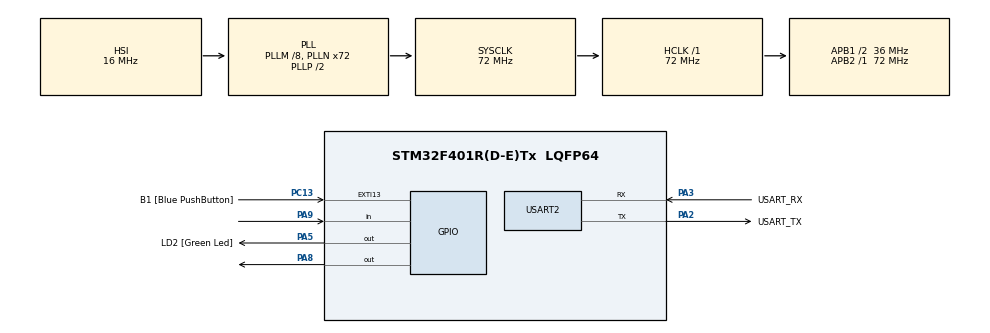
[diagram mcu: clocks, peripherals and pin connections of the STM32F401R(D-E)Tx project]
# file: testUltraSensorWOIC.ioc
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Mcu.Family=STM32F4
Mcu.Name=STM32F401R(D-E)Tx
Mcu.Package=LQFP64
NVIC.EXTI15_10_IRQn=true\:0\:0\:false\:false\:true\:true\:true
NVIC.PriorityGroup=NVIC_PRIORITYGROUP_0
PA13.GPIO_Label=TMS
PA13.Mode=Serial_Wire
PA13.Signal=SYS_JTMS-SWDIO
PA14.GPIO_Label=TCK
PA14.Mode=Serial_Wire
PA14.Signal=SYS_JTCK-SWCLK
PA2.GPIO_Label=USART_TX
PA2.GPIO_Mode=GPIO_MODE_AF_PP
PA2.GPIO_PuPd=GPIO_NOPULL
PA2.GPIO_Speed=GPIO_SPEED_FREQ_LOW
PA2.Mode=Asynchronous
PA2.Signal=USART2_TX
PA3.GPIO_Label=USART_RX
PA3.GPIO_Mode=GPIO_MODE_AF_PP
PA3.GPIO_PuPd=GPIO_NOPULL
PA3.GPIO_Speed=GPIO_SPEED_FREQ_LOW
PA3.Mode=Asynchronous
PA3.Signal=USART2_RX
PA5.GPIO_Label=LD2 [Green Led]
PA5.GPIO_Mode=GPIO_MODE_OUTPUT_PP
PA5.GPIO_PuPd=GPIO_NOPULL
PA5.GPIO_Speed=GPIO_SPEED_FREQ_LOW
PA5.Signal=GPIO_Output
PA8.Signal=GPIO_Output
PA9.Signal=GPIO_Input
PB3.GPIO_Label=SWO
PB3.Signal=SYS_JTDO-SWO
PC13-ANTI_TAMP.GPIO_Label=B1 [Blue PushButton]
PC13-ANTI_TAMP.GPIO_ModeDefaultEXTI=GPIO_MODE_IT_FALLING
PC13-ANTI_TAMP.GPIO_PuPd=GPIO_NOPULL
PC13-ANTI_TAMP.Signal=GPXTI13
PC14-OSC32_IN.Mode=LSE-External-Oscillator
PC14-OSC32_IN.Signal=RCC_OSC32_IN
PC15-OSC32_OUT.Mode=LSE-External-Oscillator
PC15-OSC32_OUT.Signal=RCC_OSC32_OUT
PH0\ -\ OSC_IN.Mode=HSE-External-Clock-Source
PH0\ -\ OSC_IN.Signal=RCC_OSC_IN
PH1\ -\ OSC_OUT.Mode=HSE-External-Clock-Source
PH1\ -\ OSC_OUT.Signal=RCC_OSC_OUT
ProjectManager.HeapSize=0x200
ProjectManager.StackSize=0x400
ProjectManager.TargetToolchain=STM32CubeIDE
RCC.48MHZClocksFreq_Value=20571428.57142857
RCC.AHBFreq_Value=72000000
RCC.APB1CLKDivider=RCC_HCLK_DIV2
RCC.APB1Freq_Value=36000000
RCC.APB1TimFreq_Value=72000000
RCC.APB2Freq_Value=72000000
RCC.APB2TimFreq_Value=72000000
RCC.CortexFreq_Value=72000000
RCC.HCLKFreq_Value=72000000
RCC.HSE_VALUE=8000000
RCC.HSI_VALUE=16000000
RCC.PLLM=8
RCC.PLLN=72
RCC.PLLQ=7
RCC.SYSCLKFreq_VALUE=72000000
RCC.SYSCLKSource=RCC_SYSCLKSOURCE_PLLCLK
RCC.VCOOutputFreq_Value=144000000
TIM4.Prescaler=72-1
USART2.VirtualMode=VM_ASYNC
VP_TIM4_VS_ClockSourceINT.Mode=Internal
board=NUCLEO-F401RE

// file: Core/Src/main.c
/* USER CODE BEGIN Header */
/**
  ******************************************************************************
  * @file           : main.c
  * @brief          : Main program body
  ******************************************************************************
  * @attention
  *
  * <h2><center>&copy; Copyright (c) 2022 STMicroelectronics.
  * All rights reserved.</center></h2>
  *
  * This software component is licensed by ST under BSD 3-Clause license,
  * the "License"; You may not use this file except in compliance with the
  * License. You may obtain a copy of the License at:
  *                        opensource.org/licenses/BSD-3-Clause
  *
  ******************************************************************************
  */
/* USER CODE END Header */
#include "main.h"

/* USER CODE BEGIN PTD */
#define usTIM TIM4
/* USER CODE END PTD */

TIM_HandleTypeDef htim4;

UART_HandleTypeDef huart2;

void SystemClock_Config(void);
static void MX_GPIO_Init(void);
static void MX_USART2_UART_Init(void);
static void MX_TIM4_Init(void);
/* USER CODE BEGIN PFP */
void usDelay(uint32_t uSec);
/* USER CODE END PFP */

/* USER CODE BEGIN 0 */
const float speedOfSound = 0.0343/2;
float distance;
char uartBuf[100];
/* USER CODE END 0 */

int main(void)
{
  /* USER CODE BEGIN 1 */
	uint32_t numTicks = 0;
  /* USER CODE END 1 */

  /* MCU Configuration--------------------------------------------------------*/

  /* Reset of all peripherals, Initializes the Flash interface and the Systick. */
  HAL_Init();

  /* Configure the system clock */
  SystemClock_Config();

  /* Initialize all configured peripherals */
  MX_GPIO_Init();
  MX_USART2_UART_Init();
  MX_TIM4_Init();

  /* Infinite loop */
  while (1)
  {

    /* USER CODE BEGIN 3 */
	  //Set TRIG to LOW for few uSec
	  		HAL_GPIO_WritePin(GPIOA, GPIO_PIN_8, GPIO_PIN_RESET);
	  		usDelay(3);

	  		//*** START Ultrasonic measure routine ***//
	  		//1. Output 10 usec TRIG
	  		HAL_GPIO_WritePin(GPIOA, GPIO_PIN_8, GPIO_PIN_SET);
	  		usDelay(10);
	  		HAL_GPIO_WritePin(GPIOA, GPIO_PIN_8, GPIO_PIN_RESET);

	  		//2. Wait for ECHO pin rising edge
	  		while(HAL_GPIO_ReadPin(GPIOA, GPIO_PIN_9) == GPIO_PIN_RESET);

	  		//3. Start measuring ECHO pulse width in usec
	  		numTicks = 0;

	  		while(HAL_GPIO_ReadPin(GPIOA, GPIO_PIN_9) == GPIO_PIN_SET)
	  		{

	  			numTicks++;
	  			usDelay(2); //2.8usec
	  		};

	  		//4. Estimate distance in cm
	  		distance = (numTicks + 0.0f)*2.8*speedOfSound;
//
//	  		//5. Print to UART terminal for debugging
	  		sprintf(uartBuf, "Distance (cm) 6.5 = %.1f\r\n", distance);
	  		HAL_UART_Transmit(&huart2, (uint8_t *)uartBuf, strlen(uartBuf), 100);

	  		HAL_Delay(1);
  }
  /* USER CODE END 3 */
}

void SystemClock_Config(void)
{
  RCC_OscInitTypeDef RCC_OscInitStruct = {0};
  RCC_ClkInitTypeDef RCC_ClkInitStruct = {0};

  /** Configure the main internal regulator output voltage
  */
  __HAL_RCC_PWR_CLK_ENABLE();
  __HAL_PWR_VOLTAGESCALING_CONFIG(PWR_REGULATOR_VOLTAGE_SCALE2);
  /** Initializes the RCC Oscillators according to the specified parameters
  * in the RCC_OscInitTypeDef structure.
  */
  RCC_OscInitStruct.OscillatorType = RCC_OSCILLATORTYPE_HSI;
  RCC_OscInitStruct.HSIState = RCC_HSI_ON;
  RCC_OscInitStruct.HSICalibrationValue = RCC_HSICALIBRATION_DEFAULT;
  RCC_OscInitStruct.PLL.PLLState = RCC_PLL_ON;
  RCC_OscInitStruct.PLL.PLLSource = RCC_PLLSOURCE_HSI;
  RCC_OscInitStruct.PLL.PLLM = 8;
  RCC_OscInitStruct.PLL.PLLN = 72;
  RCC_OscInitStruct.PLL.PLLP = RCC_PLLP_DIV2;
  RCC_OscInitStruct.PLL.PLLQ = 7;
  if (HAL_RCC_OscConfig(&RCC_OscInitStruct) != HAL_OK)
  {
    Error_Handler();
  }
  /** Initializes the CPU, AHB and APB buses clocks
  */
  RCC_ClkInitStruct.ClockType = RCC_CLOCKTYPE_HCLK|RCC_CLOCKTYPE_SYSCLK
                              |RCC_CLOCKTYPE_PCLK1|RCC_CLOCKTYPE_PCLK2;
  RCC_ClkInitStruct.SYSCLKSource = RCC_SYSCLKSOURCE_PLLCLK;
  RCC_ClkInitStruct.AHBCLKDivider = RCC_SYSCLK_DIV1;
  RCC_ClkInitStruct.APB1CLKDivider = RCC_HCLK_DIV2;
  RCC_ClkInitStruct.APB2CLKDivider = RCC_HCLK_DIV1;

  if (HAL_RCC_ClockConfig(&RCC_ClkInitStruct, FLASH_LATENCY_2) != HAL_OK)
  {
    Error_Handler();
  }
}

static void MX_TIM4_Init(void)
{

  TIM_ClockConfigTypeDef sClockSourceConfig = {0};
  TIM_MasterConfigTypeDef sMasterConfig = {0};

  htim4.Instance = TIM4;
  htim4.Init.Prescaler = 72-1;
  htim4.Init.CounterMode = TIM_COUNTERMODE_UP;
  htim4.Init.Period = 65535;
  htim4.Init.ClockDivision = TIM_CLOCKDIVISION_DIV1;
  htim4.Init.AutoReloadPreload = TIM_AUTORELOAD_PRELOAD_DISABLE;
  if (HAL_TIM_Base_Init(&htim4) != HAL_OK)
  {
    Error_Handler();
  }
  sClockSourceConfig.ClockSource = TIM_CLOCKSOURCE_INTERNAL;
  if (HAL_TIM_ConfigClockSource(&htim4, &sClockSourceConfig) != HAL_OK)
  {
    Error_Handler();
  }
  sMasterConfig.MasterOutputTrigger = TIM_TRGO_RESET;
  sMasterConfig.MasterSlaveMode = TIM_MASTERSLAVEMODE_DISABLE;
  if (HAL_TIMEx_MasterConfigSynchronization(&htim4, &sMasterConfig) != HAL_OK)
  {
    Error_Handler();
  }

}

static void MX_USART2_UART_Init(void)
{

  huart2.Instance = USART2;
  huart2.Init.BaudRate = 115200;
  huart2.Init.WordLength = UART_WORDLENGTH_8B;
  huart2.Init.StopBits = UART_STOPBITS_1;
  huart2.Init.Parity = UART_PARITY_NONE;
  huart2.Init.Mode = UART_MODE_TX_RX;
  huart2.Init.HwFlowCtl = UART_HWCONTROL_NONE;
  huart2.Init.OverSampling = UART_OVERSAMPLING_16;
  if (HAL_UART_Init(&huart2) != HAL_OK)
  {
    Error_Handler();
  }

}

static void MX_GPIO_Init(void)
{
  GPIO_InitTypeDef GPIO_InitStruct = {0};

  /* GPIO Ports Clock Enable */
  __HAL_RCC_GPIOC_CLK_ENABLE();
  __HAL_RCC_GPIOH_CLK_ENABLE();
  __HAL_RCC_GPIOA_CLK_ENABLE();
  __HAL_RCC_GPIOB_CLK_ENABLE();

  /*Configure GPIO pin Output Level */
  HAL_GPIO_WritePin(GPIOA, LD2_Pin|GPIO_PIN_8, GPIO_PIN_RESET);

  /*Configure GPIO pin : B1_Pin */
  GPIO_InitStruct.Pin = B1_Pin;
  GPIO_InitStruct.Mode = GPIO_MODE_IT_FALLING;
  GPIO_InitStruct.Pull = GPIO_NOPULL;
  HAL_GPIO_Init(B1_GPIO_Port, &GPIO_InitStruct);

  /*Configure GPIO pins : LD2_Pin PA8 */
  GPIO_InitStruct.Pin = LD2_Pin|GPIO_PIN_8;
  GPIO_InitStruct.Mode = GPIO_MODE_OUTPUT_PP;
  GPIO_InitStruct.Pull = GPIO_NOPULL;
  GPIO_InitStruct.Speed = GPIO_SPEED_FREQ_LOW;
  HAL_GPIO_Init(GPIOA, &GPIO_InitStruct);

  /*Configure GPIO pin : PA9 */
  GPIO_InitStruct.Pin = GPIO_PIN_9;
  GPIO_InitStruct.Mode = GPIO_MODE_INPUT;
  GPIO_InitStruct.Pull = GPIO_NOPULL;
  HAL_GPIO_Init(GPIOA, &GPIO_InitStruct);

  /* EXTI interrupt init*/
  HAL_NVIC_SetPriority(EXTI15_10_IRQn, 0, 0);
  HAL_NVIC_EnableIRQ(EXTI15_10_IRQn);

}

/* USER CODE BEGIN 4 */
void usDelay(uint32_t uSec)
{
	if(uSec < 2) uSec = 2;
	usTIM->ARR = uSec - 1; 	/*sets the value in the auto-reload register*/
	usTIM->EGR = 1; 			/*Re-initialises the timer*/
	usTIM->SR &= ~1; 		//Resets the flag
	usTIM->CR1 |= 1; 		//Enables the counter
	while((usTIM->SR&0x0001) != 1);
	usTIM->SR &= ~(0x0001);
}
/* USER CODE END 4 */

void Error_Handler(void)
{
  __disable_irq();
  while (1)
  {
  }
}

/************************ (C) COPYRIGHT STMicroelectronics *****END OF FILE****/
